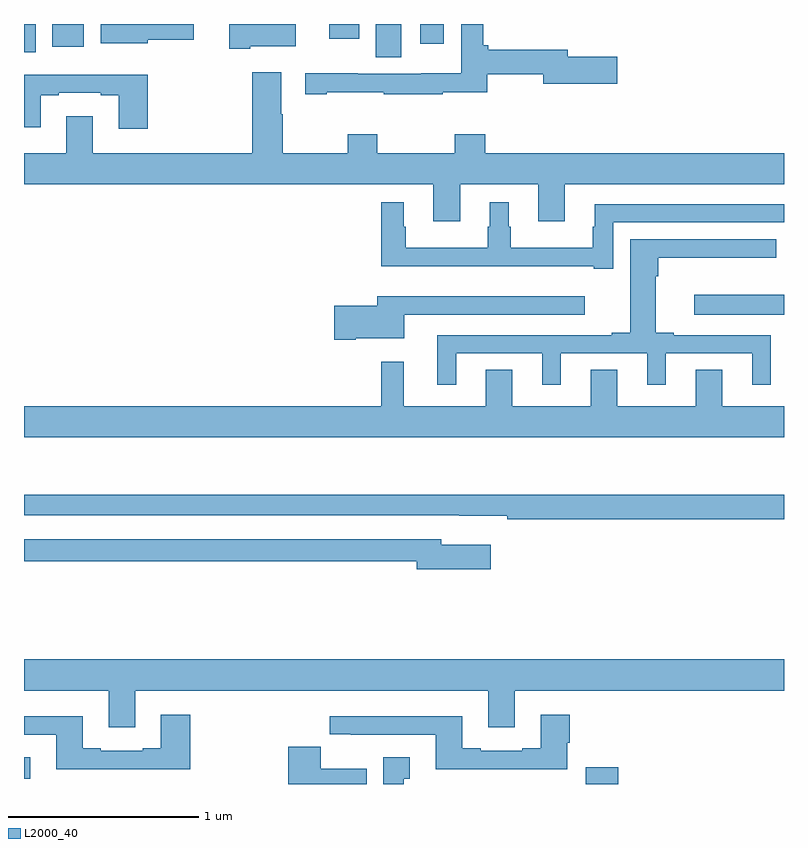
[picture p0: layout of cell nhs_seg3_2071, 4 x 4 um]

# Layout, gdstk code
import gdstk
lib = gdstk.Library(unit=1e-6, precision=1e-09)
def R(c, l, rs):  # rectangles x0, y0, x1, y1
    for r in rs: c.add(gdstk.rectangle(r[:2], r[2:], *l))
def P(c, l, *ps):  # polygons
    for p in ps: c.add(gdstk.Polygon(p, *l))
L2000_40 = (2000, 40)

nhs_seg3_2071 = lib.new_cell('nhs_seg3_2071')
R(nhs_seg3_2071, L2000_40, [(219.956,724.4,220.127,724.489), (217,724.427,217.033,724.54), (220.527,726.869,221,726.976), (218.852,728.224,218.986,728.4), (217,728.252,217.063,728.4), (217.148,728.28,217.315,728.4), (219.086,728.295,219.208,728.4), (218.606,728.322,218.764,728.4)])
P(nhs_seg3_2071, L2000_40, [(217.65,728.318),(217.894,728.318),(217.894,728.4),(217.403,728.4),(217.403,728.3),(217.65,728.3)],
  [(218.593,728.041),(218.893,728.041),(218.893,728.031),(219.203,728.031),(219.203,728.041),(219.438,728.041),(219.438,728.136),(219.734,728.136),(219.734,728.086),(220.123,728.086),(220.123,728.228),(219.862,728.228),(219.862,728.264),(219.443,728.264),(219.443,728.288),(219.416,728.288),(219.416,728.4),(219.3,728.4),(219.3,728.14),(219.09,728.14),(219.09,728.139),(218.756,728.139),(218.756,728.141),(218.481,728.141),(218.481,728.031),(218.593,728.031)],
  [(218.191,728.282),(218.431,728.282),(218.431,728.4),(218.079,728.4),(218.079,728.27),(218.191,728.27)],
  [(219.295,727.556),(219.707,727.556),(219.707,727.362),(219.847,727.362),(219.847,727.556),(221,727.556),(221,727.72),(219.428,727.72),(219.428,727.819),(219.268,727.819),(219.268,727.72),(218.859,727.72),(218.859,727.819),(218.704,727.819),(218.704,727.72),(218.361,727.72),(218.361,727.925),(218.353,727.925),(218.353,728.146),(218.201,728.146),(218.201,727.72),(217.363,727.72),(217.363,727.915),(217.223,727.915),(217.223,727.72),(217,727.72),(217,727.556),(219.155,727.556),(219.155,727.362),(219.295,727.362)],
  [(217.652,728.134),(217,728.134),(217,727.856),(217.087,727.856),(217.087,728.025),(217.183,728.025),(217.183,728.037),(217.403,728.037),(217.403,728.025),(217.499,728.025),(217.499,727.848),(217.652,727.848)],
  [(220.101,727.356),(221,727.356),(221,727.452),(220.004,727.452),(220.004,727.334),(219.993,727.334),(219.993,727.222),(219.562,727.222),(219.562,727.334),(219.55,727.334),(219.55,727.462),(219.452,727.462),(219.452,727.334),(219.441,727.334),(219.441,727.222),(219.01,727.222),(219.01,727.334),(218.998,727.334),(218.998,727.462),(218.881,727.462),(218.881,727.124),(219.998,727.124),(219.998,727.113),(220.101,727.113)],
  [(219.274,726.666),(219.728,726.666),(219.728,726.501),(219.826,726.501),(219.826,726.666),(220.28,726.666),(220.28,726.501),(220.378,726.501),(220.378,726.666),(220.832,726.666),(220.832,726.501),(220.93,726.501),(220.93,726.762),(220.42,726.762),(220.42,726.775),(220.324,726.775),(220.324,727.073),(220.337,727.073),(220.337,727.169),(220.96,727.169),(220.96,727.266),(220.19,727.266),(220.19,726.775),(220.094,726.775),(220.094,726.762),(219.176,726.762),(219.176,726.501),(219.274,726.501)],
  [(218.746,726.746),(219.001,726.746),(219.001,726.87),(219.952,726.87),(219.952,726.967),(218.858,726.967),(218.858,726.917),(218.634,726.917),(218.634,726.739),(218.746,726.739)],
  [(221,726.388),(220.675,726.388),(220.675,726.581),(220.535,726.581),(220.535,726.388),(220.123,726.388),(220.123,726.581),(219.983,726.581),(219.983,726.388),(219.571,726.388),(219.571,726.581),(219.431,726.581),(219.431,726.388),(218.999,726.388),(218.999,726.622),(218.881,726.622),(218.881,726.388),(217,726.388),(217,726.224),(221,726.224)],
  [(221,725.923),(217,725.923),(217,725.814),(219.292,725.814),(219.292,725.813),(219.544,725.813),(219.544,725.794),(221,725.794)],
  [(219.457,725.659),(219.196,725.659),(219.196,725.688),(217,725.688),(217,725.572),(219.068,725.572),(219.068,725.53),(219.457,725.53)],
  [(217.585,724.892),(219.443,724.892),(219.443,724.698),(219.583,724.698),(219.583,724.892),(221,724.892),(221,725.056),(217,725.056),(217,724.892),(217.445,724.892),(217.445,724.698),(217.585,724.698)],
  [(219.859,724.617),(219.872,724.617),(219.872,724.765),(219.719,724.765),(219.719,724.588),(219.623,724.588),(219.623,724.575),(219.403,724.575),(219.403,724.588),(219.307,724.588),(219.307,724.756),(218.61,724.756),(218.61,724.661),(218.719,724.661),(218.719,724.659),(219.167,724.659),(219.167,724.478),(219.859,724.478)],
  [(217.874,724.765),(217.721,724.765),(217.721,724.588),(217.625,724.588),(217.625,724.575),(217.405,724.575),(217.405,724.588),(217.309,724.588),(217.309,724.756),(217,724.756),(217,724.659),(217.169,724.659),(217.169,724.478),(217.874,724.478)],
  [(218.803,724.48),(218.563,724.48),(218.563,724.596),(218.39,724.596),(218.39,724.4),(218.803,724.4)],
  [(218.998,724.427),(219.031,724.427),(219.031,724.54),(218.891,724.54),(218.891,724.4),(218.998,724.4)])

lib.write_gds('nhs_seg3_2071.gds')
